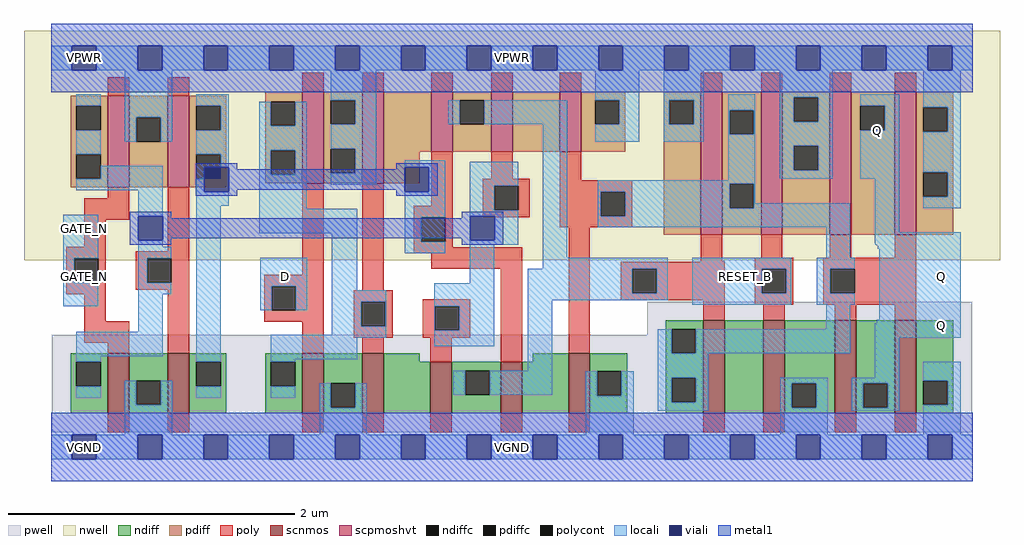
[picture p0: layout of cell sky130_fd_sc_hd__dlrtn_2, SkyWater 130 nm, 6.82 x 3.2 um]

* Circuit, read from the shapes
.subckt sky130_fd_sc_hd__dlrtn_2 D GATE_N RESET_B VGND VNB VPB VPWR Q
XM1 VGND GATE_N n1 VNB sky130_fd_pr__nfet_01v8 w=0.42 l=0.15
XM2 n2 n1 VGND VNB sky130_fd_pr__nfet_01v8 w=0.42 l=0.15
XM3 VGND D n3 VNB sky130_fd_pr__nfet_01v8 w=0.42 l=0.15
XM4 n4 n3 VGND VNB sky130_fd_pr__nfet_01v8 w=0.42 l=0.15
XM5 n5 n1 n4 VNB sky130_fd_pr__nfet_01v8 w=0.36 l=0.15
XM6 n6 n2 n5 VNB sky130_fd_pr__nfet_01v8 w=0.36 l=0.15
XM7 VGND n7 n6 VNB sky130_fd_pr__nfet_01v8 w=0.42 l=0.15
XM8 n8 n5 n7 VNB sky130_fd_pr__nfet_01v8 w=0.65 l=0.15
XM9 VGND RESET_B n8 VNB sky130_fd_pr__nfet_01v8 w=0.65 l=0.15
XM10 Q n7 VGND VNB sky130_fd_pr__nfet_01v8 w=0.65 l=0.15 m=2
XM11 VPWR GATE_N n1 VPB sky130_fd_pr__pfet_01v8_hvt w=0.64 l=0.15
XM12 n2 n1 VPWR VPB sky130_fd_pr__pfet_01v8_hvt w=0.64 l=0.15
XM13 VPWR D n3 VPB sky130_fd_pr__pfet_01v8_hvt w=0.64 l=0.15
XM14 n9 n3 VPWR VPB sky130_fd_pr__pfet_01v8_hvt w=0.64 l=0.15
XM15 n5 n2 n9 VPB sky130_fd_pr__pfet_01v8_hvt w=0.42 l=0.15
XM16 n10 n1 n5 VPB sky130_fd_pr__pfet_01v8_hvt w=0.42 l=0.15
XM17 VPWR n7 n10 VPB sky130_fd_pr__pfet_01v8_hvt w=0.42 l=0.15
XM18 n7 n5 VPWR VPB sky130_fd_pr__pfet_01v8_hvt w=1 l=0.15
XM19 VPWR RESET_B n7 VPB sky130_fd_pr__pfet_01v8_hvt w=1 l=0.15
XM20 Q n7 VPWR VPB sky130_fd_pr__pfet_01v8_hvt w=1 l=0.15 m=2
.ends

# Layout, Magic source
magic
tech sky130A
magscale 1 2
<< nwell >>
rect -38 261 1326 582
<< pwell >>
rect 833 157 1287 203
rect 1 21 1287 157
rect 30 -17 64 21
<< scnmos >>
rect 79 47 109 131
rect 163 47 193 131
rect 351 47 381 131
rect 435 47 465 131
rect 530 47 560 119
rect 628 47 658 119
rect 723 47 753 131
rect 911 47 941 177
rect 995 47 1025 177
rect 1095 47 1125 177
rect 1179 47 1209 177
<< scpmoshvt >>
rect 79 363 109 491
rect 163 363 193 491
rect 351 369 381 497
rect 435 369 465 497
rect 531 413 561 497
rect 615 413 645 497
rect 711 413 741 497
rect 908 297 938 497
rect 992 297 1022 497
rect 1088 297 1118 497
rect 1179 297 1209 497
<< ndiff >>
rect 27 119 79 131
rect 27 85 35 119
rect 69 85 79 119
rect 27 47 79 85
rect 109 93 163 131
rect 109 59 119 93
rect 153 59 163 93
rect 109 47 163 59
rect 193 119 245 131
rect 193 85 203 119
rect 237 85 245 119
rect 193 47 245 85
rect 299 119 351 131
rect 299 85 307 119
rect 341 85 351 119
rect 299 47 351 85
rect 381 89 435 131
rect 381 55 391 89
rect 425 55 435 89
rect 381 47 435 55
rect 465 119 515 131
rect 859 165 911 177
rect 859 131 867 165
rect 901 131 911 165
rect 673 119 723 131
rect 465 47 530 119
rect 560 107 628 119
rect 560 73 579 107
rect 613 73 628 107
rect 560 47 628 73
rect 658 47 723 119
rect 753 106 805 131
rect 753 72 763 106
rect 797 72 805 106
rect 753 47 805 72
rect 859 97 911 131
rect 859 63 867 97
rect 901 63 911 97
rect 859 47 911 63
rect 941 47 995 177
rect 1025 89 1095 177
rect 1025 55 1035 89
rect 1069 55 1095 89
rect 1025 47 1095 55
rect 1125 89 1179 177
rect 1125 55 1135 89
rect 1169 55 1179 89
rect 1125 47 1179 55
rect 1209 93 1261 177
rect 1209 59 1219 93
rect 1253 59 1261 93
rect 1209 47 1261 59
<< pdiff >>
rect 27 477 79 491
rect 27 443 35 477
rect 69 443 79 477
rect 27 409 79 443
rect 27 375 35 409
rect 69 375 79 409
rect 27 363 79 375
rect 109 461 163 491
rect 109 427 119 461
rect 153 427 163 461
rect 109 363 163 427
rect 193 477 245 491
rect 193 443 203 477
rect 237 443 245 477
rect 193 409 245 443
rect 193 375 203 409
rect 237 375 245 409
rect 193 363 245 375
rect 299 483 351 497
rect 299 449 307 483
rect 341 449 351 483
rect 299 415 351 449
rect 299 381 307 415
rect 341 381 351 415
rect 299 369 351 381
rect 381 485 435 497
rect 381 451 391 485
rect 425 451 435 485
rect 381 417 435 451
rect 381 383 391 417
rect 425 383 435 417
rect 381 369 435 383
rect 465 413 531 497
rect 561 485 615 497
rect 561 451 571 485
rect 605 451 615 485
rect 561 413 615 451
rect 645 413 711 497
rect 741 485 802 497
rect 741 451 760 485
rect 794 451 802 485
rect 741 413 802 451
rect 856 485 908 497
rect 856 451 864 485
rect 898 451 908 485
rect 465 369 515 413
rect 856 297 908 451
rect 938 471 992 497
rect 938 437 948 471
rect 982 437 992 471
rect 938 368 992 437
rect 938 334 948 368
rect 982 334 992 368
rect 938 297 992 334
rect 1022 489 1088 497
rect 1022 455 1038 489
rect 1072 455 1088 489
rect 1022 421 1088 455
rect 1022 387 1038 421
rect 1072 387 1088 421
rect 1022 297 1088 387
rect 1118 477 1179 497
rect 1118 443 1131 477
rect 1165 443 1179 477
rect 1118 297 1179 443
rect 1209 475 1261 497
rect 1209 441 1219 475
rect 1253 441 1261 475
rect 1209 384 1261 441
rect 1209 350 1219 384
rect 1253 350 1261 384
rect 1209 297 1261 350
<< ndiffc >>
rect 35 85 69 119
rect 119 59 153 93
rect 203 85 237 119
rect 307 85 341 119
rect 391 55 425 89
rect 867 131 901 165
rect 579 73 613 107
rect 763 72 797 106
rect 867 63 901 97
rect 1035 55 1069 89
rect 1135 55 1169 89
rect 1219 59 1253 93
<< pdiffc >>
rect 35 443 69 477
rect 35 375 69 409
rect 119 427 153 461
rect 203 443 237 477
rect 203 375 237 409
rect 307 449 341 483
rect 307 381 341 415
rect 391 451 425 485
rect 391 383 425 417
rect 571 451 605 485
rect 760 451 794 485
rect 864 451 898 485
rect 948 437 982 471
rect 948 334 982 368
rect 1038 455 1072 489
rect 1038 387 1072 421
rect 1131 443 1165 477
rect 1219 441 1253 475
rect 1219 350 1253 384
<< poly >>
rect 79 491 109 517
rect 163 491 193 517
rect 351 497 381 523
rect 435 497 465 523
rect 531 497 561 523
rect 615 497 645 523
rect 711 497 741 523
rect 908 497 938 523
rect 992 497 1022 523
rect 1088 497 1118 523
rect 1179 497 1209 523
rect 79 348 109 363
rect 46 318 109 348
rect 46 280 76 318
rect 21 264 76 280
rect 163 274 193 363
rect 21 230 32 264
rect 66 230 76 264
rect 21 214 76 230
rect 118 264 193 274
rect 118 230 134 264
rect 168 230 193 264
rect 351 241 381 369
rect 118 220 193 230
rect 46 176 76 214
rect 46 146 109 176
rect 79 131 109 146
rect 163 131 193 220
rect 298 225 381 241
rect 298 191 308 225
rect 342 191 381 225
rect 435 219 465 369
rect 531 337 561 413
rect 615 375 645 413
rect 507 321 561 337
rect 603 365 669 375
rect 603 331 619 365
rect 653 331 669 365
rect 603 321 669 331
rect 711 373 741 413
rect 711 357 812 373
rect 711 323 768 357
rect 802 323 812 357
rect 507 287 517 321
rect 551 287 561 321
rect 711 307 812 323
rect 507 279 561 287
rect 507 271 658 279
rect 531 249 658 271
rect 298 175 381 191
rect 351 131 381 175
rect 423 203 477 219
rect 423 169 433 203
rect 467 169 477 203
rect 423 153 477 169
rect 519 197 586 207
rect 519 163 536 197
rect 570 163 586 197
rect 519 153 586 163
rect 435 131 465 153
rect 530 119 560 153
rect 628 119 658 249
rect 723 131 753 307
rect 908 260 938 297
rect 992 265 1022 297
rect 1088 265 1118 297
rect 1179 265 1209 297
rect 908 259 941 260
rect 796 249 941 259
rect 796 215 812 249
rect 846 215 941 249
rect 796 205 941 215
rect 911 177 941 205
rect 983 249 1037 265
rect 983 215 993 249
rect 1027 215 1037 249
rect 983 199 1037 215
rect 1079 249 1209 265
rect 1079 215 1089 249
rect 1123 215 1209 249
rect 1079 199 1209 215
rect 995 177 1025 199
rect 1095 177 1125 199
rect 1179 177 1209 199
rect 79 21 109 47
rect 163 21 193 47
rect 351 21 381 47
rect 435 21 465 47
rect 530 21 560 47
rect 628 21 658 47
rect 723 21 753 47
rect 911 21 941 47
rect 995 21 1025 47
rect 1095 21 1125 47
rect 1179 21 1209 47
<< polycont >>
rect 32 230 66 264
rect 134 230 168 264
rect 308 191 342 225
rect 619 331 653 365
rect 768 323 802 357
rect 517 287 551 321
rect 433 169 467 203
rect 536 163 570 197
rect 812 215 846 249
rect 993 215 1027 249
rect 1089 215 1123 249
<< locali >>
rect 0 527 29 561
rect 63 527 121 561
rect 155 527 213 561
rect 247 527 305 561
rect 339 527 397 561
rect 431 527 489 561
rect 523 527 581 561
rect 615 527 673 561
rect 707 527 765 561
rect 799 527 857 561
rect 891 527 949 561
rect 983 527 1041 561
rect 1075 527 1133 561
rect 1167 527 1225 561
rect 1259 527 1288 561
rect 35 477 69 493
rect 35 409 69 443
rect 103 461 169 527
rect 103 427 119 461
rect 153 427 169 461
rect 203 477 248 493
rect 391 485 454 527
rect 760 485 822 527
rect 237 443 248 477
rect 203 409 248 443
rect 69 375 156 393
rect 35 359 156 375
rect 17 264 66 325
rect 17 230 32 264
rect 17 197 66 230
rect 122 323 156 359
rect 122 280 156 289
rect 237 391 248 409
rect 203 357 214 375
rect 203 337 248 357
rect 291 449 307 483
rect 341 449 357 483
rect 291 415 357 449
rect 291 381 307 415
rect 341 381 357 415
rect 122 264 168 280
rect 122 230 134 264
rect 122 214 168 230
rect 122 161 156 214
rect 35 127 156 161
rect 35 119 69 127
rect 203 119 237 337
rect 291 333 357 381
rect 425 451 454 485
rect 555 451 571 485
rect 605 451 721 485
rect 391 417 454 451
rect 425 383 454 417
rect 391 367 454 383
rect 494 391 551 401
rect 528 357 551 391
rect 291 299 428 333
rect 292 225 358 265
rect 292 191 308 225
rect 342 191 358 225
rect 392 219 428 299
rect 494 321 551 357
rect 494 287 517 321
rect 494 271 551 287
rect 585 365 653 399
rect 585 331 619 365
rect 585 323 653 331
rect 585 289 586 323
rect 620 289 653 323
rect 585 283 653 289
rect 585 229 619 283
rect 687 265 721 451
rect 794 451 822 485
rect 760 427 822 451
rect 856 485 912 527
rect 856 451 864 485
rect 898 451 912 485
rect 856 427 912 451
rect 946 471 984 493
rect 946 437 948 471
rect 982 437 984 471
rect 946 373 984 437
rect 1018 489 1092 527
rect 1018 455 1038 489
rect 1072 455 1092 489
rect 1018 421 1092 455
rect 1018 387 1038 421
rect 1072 387 1092 421
rect 1018 375 1092 387
rect 1131 477 1185 493
rect 1165 443 1185 477
rect 1131 375 1185 443
rect 764 368 984 373
rect 764 357 948 368
rect 764 323 768 357
rect 802 334 948 357
rect 982 341 984 368
rect 982 334 1117 341
rect 802 323 1117 334
rect 764 307 1117 323
rect 1083 265 1117 307
rect 1151 300 1185 375
rect 1219 475 1271 527
rect 1253 441 1271 475
rect 1219 384 1271 441
rect 1253 350 1271 384
rect 1219 334 1271 350
rect 1151 285 1271 300
rect 1152 283 1271 285
rect 1153 282 1271 283
rect 1155 277 1271 282
rect 687 249 862 265
rect 392 203 468 219
rect 392 169 433 203
rect 467 169 468 203
rect 392 157 468 169
rect 35 69 69 85
rect 103 59 119 93
rect 153 59 169 93
rect 203 69 237 85
rect 307 153 468 157
rect 535 197 619 229
rect 535 163 536 197
rect 570 163 619 197
rect 307 123 428 153
rect 535 141 619 163
rect 666 215 812 249
rect 846 215 862 249
rect 666 205 862 215
rect 896 249 1034 265
rect 896 215 993 249
rect 1027 215 1034 249
rect 307 119 341 123
rect 666 107 700 205
rect 896 199 1034 215
rect 1070 249 1123 265
rect 1070 215 1089 249
rect 1070 199 1123 215
rect 1083 165 1117 199
rect 1157 178 1271 277
rect 1154 173 1271 178
rect 307 69 341 85
rect 103 17 169 59
rect 375 55 391 89
rect 425 55 441 89
rect 562 73 579 107
rect 613 73 700 107
rect 848 131 867 165
rect 901 131 1117 165
rect 1151 153 1271 173
rect 375 17 441 55
rect 747 72 763 106
rect 797 72 814 106
rect 747 17 814 72
rect 848 97 918 131
rect 1151 97 1185 153
rect 848 63 867 97
rect 901 63 918 97
rect 848 51 918 63
rect 1019 89 1085 97
rect 1019 55 1035 89
rect 1069 55 1085 89
rect 1019 17 1085 55
rect 1119 89 1185 97
rect 1119 55 1135 89
rect 1169 55 1185 89
rect 1119 51 1185 55
rect 1219 93 1271 119
rect 1253 59 1271 93
rect 1219 17 1271 59
rect 0 -17 29 17
rect 63 -17 121 17
rect 155 -17 213 17
rect 247 -17 305 17
rect 339 -17 397 17
rect 431 -17 489 17
rect 523 -17 581 17
rect 615 -17 673 17
rect 707 -17 765 17
rect 799 -17 857 17
rect 891 -17 949 17
rect 983 -17 1041 17
rect 1075 -17 1133 17
rect 1167 -17 1225 17
rect 1259 -17 1288 17
<< viali >>
rect 29 527 63 561
rect 121 527 155 561
rect 213 527 247 561
rect 305 527 339 561
rect 397 527 431 561
rect 489 527 523 561
rect 581 527 615 561
rect 673 527 707 561
rect 765 527 799 561
rect 857 527 891 561
rect 949 527 983 561
rect 1041 527 1075 561
rect 1133 527 1167 561
rect 1225 527 1259 561
rect 122 289 156 323
rect 214 375 237 391
rect 237 375 248 391
rect 214 357 248 375
rect 494 357 528 391
rect 586 289 620 323
rect 29 -17 63 17
rect 121 -17 155 17
rect 213 -17 247 17
rect 305 -17 339 17
rect 397 -17 431 17
rect 489 -17 523 17
rect 581 -17 615 17
rect 673 -17 707 17
rect 765 -17 799 17
rect 857 -17 891 17
rect 949 -17 983 17
rect 1041 -17 1075 17
rect 1133 -17 1167 17
rect 1225 -17 1259 17
<< metal1 >>
rect 0 561 1288 592
rect 0 527 29 561
rect 63 527 121 561
rect 155 527 213 561
rect 247 527 305 561
rect 339 527 397 561
rect 431 527 489 561
rect 523 527 581 561
rect 615 527 673 561
rect 707 527 765 561
rect 799 527 857 561
rect 891 527 949 561
rect 983 527 1041 561
rect 1075 527 1133 561
rect 1167 527 1225 561
rect 1259 527 1288 561
rect 0 496 1288 527
rect 202 391 260 397
rect 202 357 214 391
rect 248 388 260 391
rect 482 391 540 397
rect 482 388 494 391
rect 248 360 494 388
rect 248 357 260 360
rect 202 351 260 357
rect 482 357 494 360
rect 528 357 540 391
rect 482 351 540 357
rect 110 323 168 329
rect 110 289 122 323
rect 156 320 168 323
rect 574 323 632 329
rect 574 320 586 323
rect 156 292 586 320
rect 156 289 168 292
rect 110 283 168 289
rect 574 289 586 292
rect 620 289 632 323
rect 574 283 632 289
rect 0 17 1288 48
rect 0 -17 29 17
rect 63 -17 121 17
rect 155 -17 213 17
rect 247 -17 305 17
rect 339 -17 397 17
rect 431 -17 489 17
rect 523 -17 581 17
rect 615 -17 673 17
rect 707 -17 765 17
rect 799 -17 857 17
rect 891 -17 949 17
rect 983 -17 1041 17
rect 1075 -17 1133 17
rect 1167 -17 1225 17
rect 1259 -17 1288 17
rect 0 -48 1288 -17
<< labels >>
flabel locali s 954 221 988 255 0 FreeSans 200 0 0 0 RESET_B
port 3 nsew signal input
flabel locali s 1138 425 1172 459 0 FreeSans 200 0 0 0 Q
port 8 nsew signal output
flabel locali s 1227 153 1261 187 0 FreeSans 200 0 0 0 Q
port 8 nsew signal output
flabel locali s 1227 221 1261 255 0 FreeSans 200 0 0 0 Q
port 8 nsew signal output
flabel locali s 310 221 344 255 0 FreeSans 200 0 0 0 D
port 1 nsew signal input
flabel locali s 30 221 64 255 0 FreeSans 200 0 0 0 GATE_N
port 2 nsew clock input
flabel locali s 30 289 64 323 0 FreeSans 200 0 0 0 GATE_N
port 2 nsew clock input
flabel metal1 s 30 -17 64 17 0 FreeSans 200 0 0 0 VGND
port 4 nsew ground bidirectional abutment
flabel metal1 s 30 527 64 561 0 FreeSans 200 0 0 0 VPWR
port 7 nsew power bidirectional abutment
flabel metal1 s 46 0 46 0 0 FreeSans 200 0 0 0 VGND
flabel metal1 s 46 544 46 544 0 FreeSans 200 0 0 0 VPWR
flabel nwell s 30 527 64 561 0 FreeSans 200 0 0 0 VPB
port 6 nsew power bidirectional
flabel nwell s 47 544 47 544 0 FreeSans 200 0 0 0 VPB
flabel nwell s 47 544 47 544 0 FreeSans 200 0 0 0 VPB
flabel pwell s 30 -17 64 17 0 FreeSans 200 0 0 0 VNB
port 5 nsew ground bidirectional
flabel pwell s 47 0 47 0 0 FreeSans 200 0 0 0 VNB
flabel pwell s 47 0 47 0 0 FreeSans 200 0 0 0 VNB
rlabel comment s 0 0 0 0 4 dlrtn_2
rlabel metal1 s 0 -48 1288 48 1 VGND
port 4 nsew ground bidirectional abutment
rlabel metal1 s 0 496 1288 592 1 VPWR
port 7 nsew power bidirectional abutment
<< properties >>
string FIXED_BBOX 0 0 1288 544
string GDS_END 2719610
string GDS_FILE $PDKPATH/libs.ref/sky130_fd_sc_hd/gds/sky130_fd_sc_hd.gds
string GDS_START 2708204
string LEFclass CORE
string LEFsite unithd
string LEFsymmetry X Y R90
<< end >>
